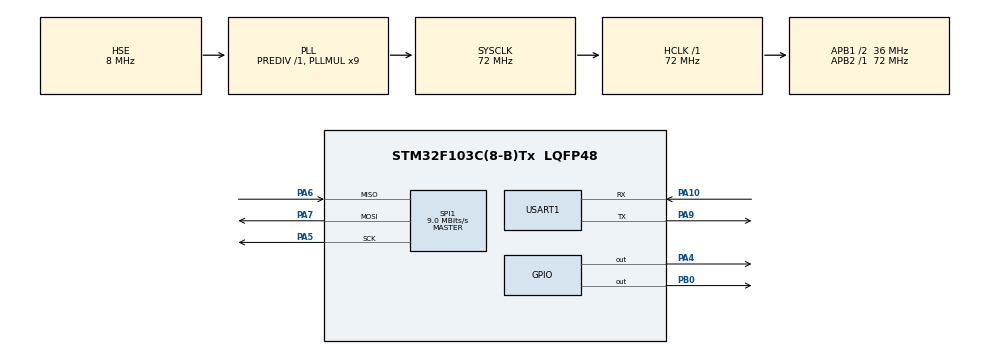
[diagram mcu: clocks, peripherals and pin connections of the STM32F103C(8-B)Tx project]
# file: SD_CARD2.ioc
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FATFS._MAX_SS=4096
FATFS._USE_LFN=1
Mcu.Family=STM32F1
Mcu.Name=STM32F103C(8-B)Tx
Mcu.Package=LQFP48
NVIC.PriorityGroup=NVIC_PRIORITYGROUP_4
PA10.Mode=Asynchronous
PA10.Signal=USART1_RX
PA13.Mode=Serial_Wire
PA13.Signal=SYS_JTMS-SWDIO
PA14.Mode=Serial_Wire
PA14.Signal=SYS_JTCK-SWCLK
PA4.PinState=GPIO_PIN_SET
PA4.Signal=GPIO_Output
PA5.Mode=Full_Duplex_Master
PA5.Signal=SPI1_SCK
PA6.Mode=Full_Duplex_Master
PA6.Signal=SPI1_MISO
PA7.Mode=Full_Duplex_Master
PA7.Signal=SPI1_MOSI
PA9.Mode=Asynchronous
PA9.Signal=USART1_TX
PB0.PinState=GPIO_PIN_SET
PB0.Signal=GPIO_Output
PD0-OSC_IN.Mode=HSE-External-Oscillator
PD0-OSC_IN.Signal=RCC_OSC_IN
PD1-OSC_OUT.Mode=HSE-External-Oscillator
PD1-OSC_OUT.Signal=RCC_OSC_OUT
ProjectManager.HeapSize=0x200
ProjectManager.StackSize=0x400
ProjectManager.TargetToolchain=MDK-ARM V5.32
RCC.AHBFreq_Value=72000000
RCC.APB1CLKDivider=RCC_HCLK_DIV2
RCC.APB1Freq_Value=36000000
RCC.APB1TimFreq_Value=72000000
RCC.APB2Freq_Value=72000000
RCC.APB2TimFreq_Value=72000000
RCC.HCLKFreq_Value=72000000
RCC.PLLMUL=RCC_PLL_MUL9
RCC.PLLSourceVirtual=RCC_PLLSOURCE_HSE
RCC.SYSCLKFreq_VALUE=72000000
RCC.SYSCLKSource=RCC_SYSCLKSOURCE_PLLCLK
RCC.USBFreq_Value=72000000
SPI1.BaudRatePrescaler=SPI_BAUDRATEPRESCALER_8
SPI1.CalculateBaudRate=9.0 MBits/s
SPI1.Direction=SPI_DIRECTION_2LINES
SPI1.Mode=SPI_MODE_MASTER
SPI1.VirtualType=VM_MASTER
USART1.VirtualMode=VM_ASYNC
VP_FATFS_VS_Generic.Mode=User_defined
board=custom

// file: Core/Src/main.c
/* USER CODE BEGIN Header */
/**
  ******************************************************************************
  * @file           : main.c
  * @brief          : Main program body
  ******************************************************************************
  * @attention
  *
  * Copyright (c) 2023 STMicroelectronics.
  * All rights reserved.
  *
  * This software is licensed under terms that can be found in the LICENSE file
  * in the root directory of this software component.
  * If no LICENSE file comes with this software, it is provided AS-IS.
  *
  ******************************************************************************
  */
/* USER CODE END Header */
#include "main.h"
#include "fatfs.h"

/* USER CODE BEGIN Includes */
#include "fatfs_sd.h"
#include "string.h"
#include "stdio.h"
//#include "user_diskio.h"
/* USER CODE END Includes */

SPI_HandleTypeDef hspi1;

UART_HandleTypeDef huart1;

/* USER CODE BEGIN PV */
volatile uint16_t Timer1;
extern FATFS SDFatFs; //File system object structure (FATFS)
/* USER CODE END PV */

void SystemClock_Config(void);
static void MX_GPIO_Init(void);
static void MX_SPI1_Init(void);
static void MX_USART1_UART_Init(void);

/* USER CODE BEGIN 0 */
FATFS fs;
FIL fil;
FRESULT fresult;
char buffer[1024];
UINT br,bw;

FATFS *pfs;
DWORD fre_clust;
uint32_t total, free_space;

void send_data(char *string){
	uint8_t len = strlen(string);
	HAL_UART_Transmit(&huart1,(uint8_t *)string,len,10);
	}

int bufsize(char *buf) {
	int i = 0;
	while(*buf++ != '\0')
		i++;
	return i ;
	}

	void bufclear() {
	    for(int i =0; i <1024; i++) {
				buffer[i] = '\0';
				}
	}
/* USER CODE END 0 */

int main(void)
{

  /* MCU Configuration--------------------------------------------------------*/

  /* Reset of all peripherals, Initializes the Flash interface and the Systick. */
  HAL_Init();

  /* Configure the system clock */
  SystemClock_Config();

  /* Initialize all configured peripherals */
  MX_GPIO_Init();
  MX_SPI1_Init();
  MX_USART1_UART_Init();
  MX_FATFS_Init();
  /* USER CODE BEGIN 2 */
  fresult = f_mount(&fs,"",0);
	if(fresult != FR_OK) {
		send_data("LOI\n");
		}
	else{
		  send_data("THANH CONG\n");
		f_getfree("",&fre_clust,&pfs);
		total = (uint32_t)((pfs->n_fatent - 2) * pfs->csize - 0.5);
		sprintf(buffer,"SIZE cua SD CARD \t%d\n",(uint32_t)total);
		send_data(buffer);
		bufclear();
		free_space = (uint32_t)(fre_clust * pfs->csize * 0.5);
		sprintf(buffer,"SD card free space\t%d\n",(uint32_t)free_space);
		send_data(buffer);

		 fresult = f_open(&fil, "MinhNhan.txt", FA_CREATE_ALWAYS | FA_WRITE);
		 strcpy (buffer, "Test thanh con\n");
		 f_puts("Minh Nhan da o day\n",&fil);
     //fresult = f_write(&fil, buffer, bufsize(buffer), &bw);
		    f_close(&fil);
		}

  /* USER CODE END 2 */

  /* Infinite loop */
  while (1)
  {

    /* USER CODE BEGIN 3 */
		  HAL_Delay(3000);
			fresult = f_open(&fil, "file2.txt", FA_READ);
      if (fresult == FR_OK)
	    send_data ("Minhnhan.txt mo thanh cong\n");
			f_gets(buffer, sizeof(buffer),&fil);

/* Read data from the file
 * Please see the function details for the arguments
*/
//f_read (&fil, buffer, f_size(&fil), &br);
//send_data(buffer);
      send_data(buffer);
/* Close file */
f_close(&fil);
  }
  /* USER CODE END 3 */
}

void SystemClock_Config(void)
{
  RCC_OscInitTypeDef RCC_OscInitStruct = {0};
  RCC_ClkInitTypeDef RCC_ClkInitStruct = {0};

  /** Initializes the RCC Oscillators according to the specified parameters
  * in the RCC_OscInitTypeDef structure.
  */
  RCC_OscInitStruct.OscillatorType = RCC_OSCILLATORTYPE_HSE;
  RCC_OscInitStruct.HSEState = RCC_HSE_ON;
  RCC_OscInitStruct.HSEPredivValue = RCC_HSE_PREDIV_DIV1;
  RCC_OscInitStruct.HSIState = RCC_HSI_ON;
  RCC_OscInitStruct.PLL.PLLState = RCC_PLL_ON;
  RCC_OscInitStruct.PLL.PLLSource = RCC_PLLSOURCE_HSE;
  RCC_OscInitStruct.PLL.PLLMUL = RCC_PLL_MUL9;
  if (HAL_RCC_OscConfig(&RCC_OscInitStruct) != HAL_OK)
  {
    Error_Handler();
  }

  /** Initializes the CPU, AHB and APB buses clocks
  */
  RCC_ClkInitStruct.ClockType = RCC_CLOCKTYPE_HCLK|RCC_CLOCKTYPE_SYSCLK
                              |RCC_CLOCKTYPE_PCLK1|RCC_CLOCKTYPE_PCLK2;
  RCC_ClkInitStruct.SYSCLKSource = RCC_SYSCLKSOURCE_PLLCLK;
  RCC_ClkInitStruct.AHBCLKDivider = RCC_SYSCLK_DIV1;
  RCC_ClkInitStruct.APB1CLKDivider = RCC_HCLK_DIV2;
  RCC_ClkInitStruct.APB2CLKDivider = RCC_HCLK_DIV1;

  if (HAL_RCC_ClockConfig(&RCC_ClkInitStruct, FLASH_LATENCY_2) != HAL_OK)
  {
    Error_Handler();
  }
}

static void MX_SPI1_Init(void)
{

  /* SPI1 parameter configuration*/
  hspi1.Instance = SPI1;
  hspi1.Init.Mode = SPI_MODE_MASTER;
  hspi1.Init.Direction = SPI_DIRECTION_2LINES;
  hspi1.Init.DataSize = SPI_DATASIZE_8BIT;
  hspi1.Init.CLKPolarity = SPI_POLARITY_LOW;
  hspi1.Init.CLKPhase = SPI_PHASE_1EDGE;
  hspi1.Init.NSS = SPI_NSS_SOFT;
  hspi1.Init.BaudRatePrescaler = SPI_BAUDRATEPRESCALER_8;
  hspi1.Init.FirstBit = SPI_FIRSTBIT_MSB;
  hspi1.Init.TIMode = SPI_TIMODE_DISABLE;
  hspi1.Init.CRCCalculation = SPI_CRCCALCULATION_DISABLE;
  hspi1.Init.CRCPolynomial = 10;
  if (HAL_SPI_Init(&hspi1) != HAL_OK)
  {
    Error_Handler();
  }

}

static void MX_USART1_UART_Init(void)
{

  huart1.Instance = USART1;
  huart1.Init.BaudRate = 115200;
  huart1.Init.WordLength = UART_WORDLENGTH_8B;
  huart1.Init.StopBits = UART_STOPBITS_1;
  huart1.Init.Parity = UART_PARITY_NONE;
  huart1.Init.Mode = UART_MODE_TX_RX;
  huart1.Init.HwFlowCtl = UART_HWCONTROL_NONE;
  huart1.Init.OverSampling = UART_OVERSAMPLING_16;
  if (HAL_UART_Init(&huart1) != HAL_OK)
  {
    Error_Handler();
  }

}

static void MX_GPIO_Init(void)
{
  GPIO_InitTypeDef GPIO_InitStruct = {0};

  /* GPIO Ports Clock Enable */
  __HAL_RCC_GPIOD_CLK_ENABLE();
  __HAL_RCC_GPIOA_CLK_ENABLE();
  __HAL_RCC_GPIOB_CLK_ENABLE();

  /*Configure GPIO pin Output Level */
  HAL_GPIO_WritePin(GPIOA, GPIO_PIN_4, GPIO_PIN_SET);

  /*Configure GPIO pin Output Level */
  HAL_GPIO_WritePin(GPIOB, GPIO_PIN_0, GPIO_PIN_SET);

  /*Configure GPIO pin : PA4 */
  GPIO_InitStruct.Pin = GPIO_PIN_4;
  GPIO_InitStruct.Mode = GPIO_MODE_OUTPUT_PP;
  GPIO_InitStruct.Pull = GPIO_NOPULL;
  GPIO_InitStruct.Speed = GPIO_SPEED_FREQ_LOW;
  HAL_GPIO_Init(GPIOA, &GPIO_InitStruct);

  /*Configure GPIO pin : PB0 */
  GPIO_InitStruct.Pin = GPIO_PIN_0;
  GPIO_InitStruct.Mode = GPIO_MODE_OUTPUT_PP;
  GPIO_InitStruct.Pull = GPIO_NOPULL;
  GPIO_InitStruct.Speed = GPIO_SPEED_FREQ_LOW;
  HAL_GPIO_Init(GPIOB, &GPIO_InitStruct);

}

void Error_Handler(void)
{
  __disable_irq();
  while (1)
  {
  }
}
